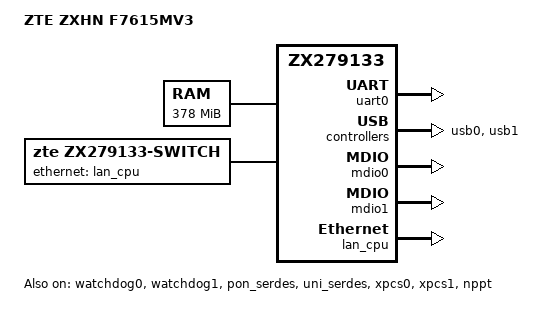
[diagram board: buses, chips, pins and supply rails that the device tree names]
// SPDX-License-Identifier: GPL-2.0-only OR BSD-2-Clause
/*
 * 中兴 ZXHN F7615MV3（中国移动定制光猫，SoC 中兴微 ZX279133）。板级事实取自本机原厂运行时设备树（/sys/firmware/fdt，2026-11-26 只读取证）。
 * 从原厂系统 kexec 进来、只在内存里跑：开串口、USB、看门狗、GPIO 与 LAN 网口（NPPT + 内建 9132 交换），板载闪存不碰。
 * 行号引用：runtime-dts = captures/20261126-runtime-facts/f7615mv3-runtime.dts；facts = captures/20261126-usb-busybox/F7615MV3-facts.txt（原厂 5.4.196 的启动日志与运行期读数，原件只留磁盘，grep 要加 -a）。
 */
/dts-v1/;

#include "zx279133.dtsi"

/ {
	model = "ZTE ZXHN F7615MV3";
	compatible = "zte,f7615mv3", "zte,zx279133";

	aliases {
		serial0 = &uart0;
		watchdog0 = &watchdog0;
		watchdog1 = &watchdog1;
	};

	chosen {
		/* earlycon 用中兴寄存器布局的 zteuart（补丁 220），不能用按标准 PL011 布局写的 pl011 */
		bootargs = "console=ttyAMA0,115200 earlycon=zteuart,mmio32,0x10d0d000";
		stdout-path = "serial0:115200n8";
	};

	/* DDR 512 MiB 从 0x80000000 起，这里只给到 0x97a00000：原厂内核运行期把 0x97a00000 以上几乎整段留给 NP、Wi-Fi、加密引擎的缓冲（原厂 memblock 保留图），kexec 交接后原厂驱动的 DMA 可能还在往那里写。 */
	memory@80000000 {
		device_type = "memory";
		reg = <0x0 0x80000000 0x0 0x17a00000>;
	};

	/*
	 * NP 的三块 DMA 区照原厂内核的划分（facts:1819–1824，`zte13x ... reserve memory 98800000/7800000` 之下的分段）：idm 0x98800000 起 0x1800000、sehash 0x9a000000 起 0x1000000、bmu 0x9b200000 起 0x1c00000。
	 * 它们在上面 memory 节点之外（不进线性映射、不归页分配器），驱动以 devm_ioremap_wc 映射；kexec 交接时原厂 NP 若还有 DMA 在飞，落点就是我们接着要重新初始化的这三块，而不是本内核的内存。
	 * 大小都满足驱动的下限：BMU 要 0x101e000、SE hash 恰好 0x1000000 且 4 KiB 对齐、IDM 要 0x2e0000（zx279133.h 的 *_REQUIRED_SIZE）。原厂另有 seddr 0x9b000000 起 0x200000，本驱动不用。
	 */
	reserved-memory {
		#address-cells = <2>;
		#size-cells = <2>;
		ranges;

		idm_reserved: buffer@98800000 {
			reg = <0x0 0x98800000 0x0 0x1800000>;
			no-map;
		};

		se_hash_reserved: buffer@9a000000 {
			reg = <0x0 0x9a000000 0x0 0x1000000>;
			no-map;
		};

		bmu_reserved: buffer@9b200000 {
			reg = <0x0 0x9b200000 0x0 0x1c00000>;
			no-map;
		};
	};
};

/*
 * CPU 调频档位照原厂运行时设备树的 opp_table0：最高 1.3 GHz，1.1–1.3 GHz 标 turbo-mode，500 MHz 是挂起档；dtsi 多出的 1.4 GHz/881 mV 原厂没有，删掉。
 * 688 MHz 一档沿用 dtsi 的 688128000（1376.256 MHz 二分频的实际频率），原厂表写的是标称值 688000000，电压同为 850 mV。
 */
&cpu_opp_table {
	/delete-node/ opp-1400000000;

	opp-500000000 {
		opp-suspend;
	};

	opp-1100000000 {
		turbo-mode;
	};

	opp-1200000000 {
		turbo-mode;
	};

	opp-1300000000 {
		turbo-mode;
	};
};

/* 原厂控制台：PL011 @0x10d0d000，115200 8n1 */
&uart0 {
	status = "okay";
};

/* 原厂两颗看门狗都开着（复位路由 0x10e10208 的 0x10、0x20 位），kexec 交接后照样在数：两颗都启用，驱动 probe 起就由内核喂狗，用户态起来后 procd 只接管 watchdog0，watchdog1 一直由内核喂。 */
&watchdog0 {
	status = "okay";
};

&watchdog1 {
	status = "okay";
};

/* 原厂两个 xHCI 都启用；面板 USB 口在 0x15010000 下（原厂总线 3-1），0x15008000 的口在板上接到哪里未知，一并打开。 */
&usb0 {
	status = "okay";
};

&usb1 {
	status = "okay";
};

/* SPI-NAND 控制器与闪存节点都保持关闭：U 盘测试期不碰板载闪存。dtsi 里的分区表是 SR1010 的，与本机实测分区无关，删掉免得误用；以后启用时按本机 /proc/mtd 实测的分区另写。 */
&spifc {
	status = "disabled";

	flash@0 {
		status = "disabled";
		/delete-node/ partitions;
	};
};

/*
 * LAN 数据面：NPPT（PON 侧 MAC、IDM/BMU/TM 与 PPU 微码）+ 内建 9132 交换（DSA，CPU 口经 XMAC0 车道上的 LAN conduit）。
 * 拓扑与端口号照创维 SK-D840N 的板级文件（woodnaonly/zx279133-ponwrt-build kernel-overlays/arch/arm64/boot/dts/zte/zx279133-sk-d840n.dts，同 SoC、同样 3 个千兆口 + 1 个 2.5G 口），本机原厂启动日志与之一致的地方：
 *   - 原厂四个 LAN 网口 eth0=uni4、eth1..3=uni1..3（facts:2357–2360），交换机 `unicnt 4, wancnt 1, all ports 5, portmask 0x9e`（facts:2624，bit 0 不在，9132 的 0 号口不接面板）；
 *   - 限速表里 port 4 为 2.5 Gbps、port 1..3 为 1 Gbps（facts:2679–2686）：千兆口是 uni1..3，2.5G 口是 uni4（外置 Realtek 8226B，原厂 `xmac0 type rlt8226`，facts:2398）；
 *   - SK-D840N 的 U-Boot 同样只报 mac 1/2/4 的链路、mac 0 恒 down（其 docs/07 补七十），与本机 `mac 1..3 link down`、`mac 4 phy status changed`（facts:2408–2410、2702）同一套编号。
 * 面板丝印与 lanN 的对应未与原厂核对：按原厂 ethN 与面板 LAN(N+1) 的惯例推断 lan1 = 2.5G 口、lan2..4 = 千兆口（iTV、千兆口3、千兆口4 的次序待插线核对）。
 */
&mdio0 {
	status = "okay";
};

&mdio1 {
	status = "okay";
};

&pon_serdes {
	status = "okay";
};

&uni_serdes {
	status = "okay";
};

&xpcs0 {
	status = "okay";
};

&xpcs1 {
	status = "okay";
};

&nppt {
	/* PON 侧 MAC（XMAC1 + PON SerDes + XPCS1）跑 SGMII，取值照 SK-D840N：Uni SerDes 与 XPCS0 归 9132 交换驱动（它的 CPU 口车道），NPPT 用 PON SerDes（驱动收 SGMII/2.5GBASE-X）；本机原厂把 PON SerDes 配成 XG-PON（facts `mode_xgpon_nsyn_cfg`），这里不接 PON，未与原厂核对 */
	phy-mode = "sgmii";
	memory-region = <&bmu_reserved>, <&se_hash_reserved>, <&idm_reserved>;
	memory-region-names = "bmu", "se-hash", "idm";
	/*
	 * MAC 地址（临时规避，见 docs/TASKS.md「临时规避：LAN MAC 写死在设备树」）：原厂的 8 个 MAC 在 parameter tags 分区（mtd3，JFFS2）里的文件 paramtag 中，TAGH0201 格式、tag 0x0100..0x0107 各 6 字节，依次是 80:88:00:c0:73:22..29，LAN 侧用第一个（facts:2688 的 `set dmac [0]`）；本内核不开 SPI-NAND，读不到，先写一个本地管理地址：原厂第一个 MAC 的首字节置 U/L 位（0x80 → 0x82）。
	 * NPPT 把这个地址写进 9132 的 SPA 作 CPU 收帧的目的 MAC（zx279133-np.c 的 zx279133_program_spa_cpu_mac）；conduit 注册时复制 NPPT 的地址（zx279133-netdev.c 的 eth_hw_addr_set(ndev, eth->ndev->dev_addr)，conduit 节点只在有 nvmem-cells 时才自己读），DSA 口与 br-lan 建立时再沿用 conduit 的。
	 */
	local-mac-address = [82 88 00 c0 73 22];
	/*
	 * 9132 的内部 GE PHY 在 MDIO0 的 0x0a..0x0d（原厂运行时设备树两个 MDIO 节点的 uni-phy，runtime-dts:1291、1302；实机读到 ID 84b9:5032）。
	 * 外置 2.5G PHY（RTL8226 一族）也在 MDIO0、地址 1，与 SK-D840N（MDIO1、地址 5）不同：
	 *   - 总线：原厂 bspdriver.ko 的 mdio_setup() 按 get_10g_mdio_sel() 选 10G PHY 的 MDIO 函数，为 0 时用 zx_mdio_0_*，本机打印 `mdio_sel==========0`（facts:2295），MDIO id 0 就是 0x14f01000（facts:1983）；SK-D840N 的原厂设备树有 pon_plat/mdio_8226_id = <1>，本机原厂设备树的 pon_plat 没有这一项。
	 *   - 地址：原厂 `xmac0 type rlt8226 ,xmac_phy_id[0]  1`（facts:2398）；plat_132.ko 的 phy_rlt8226_set_enable() 以 xmac_phy_id[xmac] 作 PHY 地址，rlt8226b.ko 初始化时用的 PHY 地址（模块 .data+4）也是 1。
	 * 第一次实机（2026-11-27 03:43）按 MDIO1 地址 5 访问，全读成 0x0000；驱动（补丁 397）probe 时会把两条 MDIO 的 0..31 都扫一遍写进 dmesg，以实测为准。
	 */
	zx279133,uni-phy-bus = <&mdio0>;
	zx279133,outer-phy-bus = <&mdio0>;
	zx279133,outer-phy-addr = <1>;
	status = "okay";

	fixed-link {
		speed = <1000>;
		full-duplex;
	};

	/* 9132 CPU 口上的 conduit（DSA 的 CPU 侧 netdev lan-cpu0），MAC 随 NPPT */
	lan_cpu: ethernet-lan-cpu {
		compatible = "zte,zx279133-lan-conduit";
	};

	switch {
		compatible = "zte,zx279133-switch";

		/*
		 * DSA 口号 = 9132 的 PPU 口号 + 3 = 原厂交换口号（facts 的 uniN、mac N）+ 4，传输 VID = 55 + DSA 口号（tagger 与 NPPT 驱动的同一套编号）。四个内部 PHY 口没有 PHY 驱动可绑（ID 0x84b9:0x5032 无匹配），照 SK-D840N 用 fixed-link：软件看到的链路恒为 1G 全双工，实际链路由 9132 自己读 PHY 决定。
		 * lan1 的外置 PHY 不在本树声明（SK-D840N 实测：phylib 一绑上 realtek 驱动就改写它的 SerDes 选项），驱动按上面的 zx279133,outer-phy-bus 与 zx279133,outer-phy-addr 直接读写。
		 */
		ports {
			#address-cells = <1>;
			#size-cells = <0>;

			/* 原厂交换口 0（PPU 口 1，PHY 0x0a）：本机面板不接（portmask 0x9e 不含 bit 0），照 SK-D840N 留作内部口、并进 LAN 桥 */
			port@4 {
				reg = <4>;
				label = "lan0";
				phy-mode = "internal";

				fixed-link {
					speed = <1000>;
					full-duplex;
				};
			};

			port@5 {
				reg = <5>;
				label = "lan2";
				phy-mode = "internal";

				fixed-link {
					speed = <1000>;
					full-duplex;
				};
			};

			port@6 {
				reg = <6>;
				label = "lan3";
				phy-mode = "internal";

				fixed-link {
					speed = <1000>;
					full-duplex;
				};
			};

			port@7 {
				reg = <7>;
				label = "lan4";
				phy-mode = "internal";

				fixed-link {
					speed = <1000>;
					full-duplex;
				};
			};

			/* 2.5G 口：9132 的第五个用户口（原厂的 outerphy、uni4，PPU 口 5），2500BASE-X 到外置 PHY；速率与链路由驱动从 PHY 的 1f.0xa434 读出后覆盖这里的上限 */
			port@8 {
				reg = <8>;
				label = "lan1";
				phy-mode = "2500base-x";

				fixed-link {
					speed = <2500>;
					full-duplex;
				};
			};

			/* CPU 口：XMAC0 车道上 1G SGMII，接 conduit */
			port@9 {
				reg = <9>;
				ethernet = <&lan_cpu>;
				phy-mode = "sgmii";

				fixed-link {
					speed = <1000>;
					full-duplex;
				};
			};
		};
	};
};
